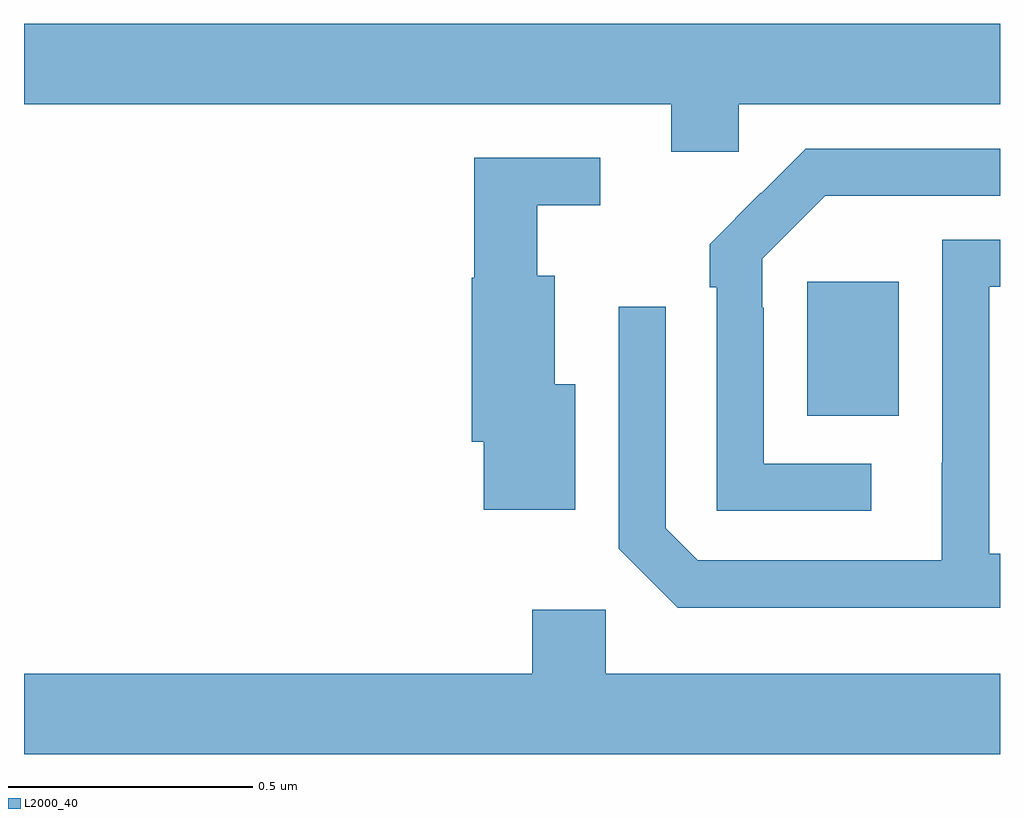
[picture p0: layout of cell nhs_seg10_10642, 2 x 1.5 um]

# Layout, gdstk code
import gdstk
lib = gdstk.Library(unit=1e-6, precision=1e-09)
def R(c, l, rs):  # rectangles x0, y0, x1, y1
    for r in rs: c.add(gdstk.rectangle(r[:2], r[2:], *l))
def P(c, l, *ps):  # polygons
    for p in ps: c.add(gdstk.Polygon(p, *l))
L2000_40 = (2000, 40)

nhs_seg10_10642 = lib.new_cell('nhs_seg10_10642')
R(nhs_seg10_10642, L2000_40, [(246.605,1279.697,246.793,1279.972)])
P(nhs_seg10_10642, L2000_40, [(246.465,1280.336),(247,1280.336),(247,1280.5),(245,1280.5),(245,1280.336),(246.326,1280.336),(246.326,1280.238),(246.465,1280.238)],
  [(246.736,1279.599),(246.516,1279.599),(246.516,1279.919),(246.513,1279.919),(246.513,1280.019),(246.642,1280.148),(247,1280.148),(247,1280.244),(246.602,1280.244),(246.511,1280.153),(246.51,1280.154),(246.405,1280.049),(246.405,1279.961),(246.42,1279.961),(246.42,1279.503),(246.736,1279.503)],
  [(246.13,1279.762),(246.088,1279.762),(246.088,1279.984),(246.052,1279.984),(246.052,1280.129),(246.181,1280.129),(246.181,1280.226),(245.923,1280.226),(245.923,1279.98),(245.918,1279.98),(245.918,1279.644),(245.942,1279.644),(245.942,1279.505),(246.13,1279.505)],
  [(247,1279.414),(246.978,1279.414),(246.978,1279.962),(247,1279.962),(247,1280.058),(246.882,1280.058),(246.882,1279.601),(246.881,1279.601),(246.881,1279.401),(246.381,1279.401),(246.315,1279.467),(246.315,1279.921),(246.219,1279.921),(246.219,1279.425),(246.34,1279.304),(247,1279.304)],
  [(247,1279.168),(246.192,1279.168),(246.192,1279.3),(246.041,1279.3),(246.041,1279.168),(245,1279.168),(245,1279.004),(247,1279.004)])

lib.write_gds('nhs_seg10_10642.gds')
